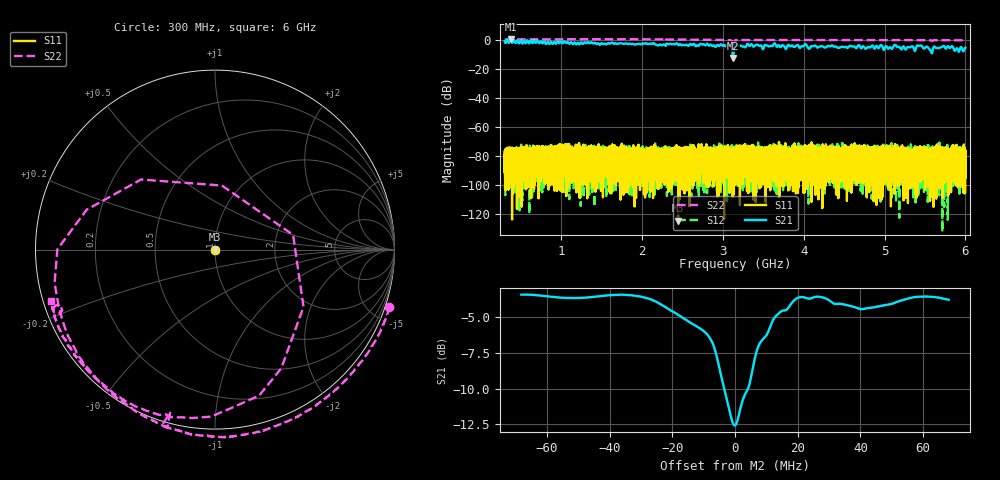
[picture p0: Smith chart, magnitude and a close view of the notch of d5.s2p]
!Agilent Technologies,N5230C,SG49000117,A.08.50.07
!Agilent N5230C: A.08.50.07
!Date: Sunday, March 17, 2024 09:30:41
!Correction: S11(Off)
!S21(Off)
!S12(Off)
!S22(Full 1 Port(2))
!S2P File: Measurements: S11, S21, S12, S22:
# Hz S  RI  R 50
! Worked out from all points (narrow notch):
!   20001 points, 300 MHz to 6 GHz, reference 50 ohm
!   highest |S21| = 0.44 dB at 373 MHz (marker M1); lowest = -12.6 dB at 3.123 GHz (marker M2)
!   notch at M2: 8.7 dB deep, 11.4 MHz wide at half that depth
!   lowest |S11| = -124.8 dB at 2.447 GHz (marker M3), VSWR 1.00, Z = 50 - j5.36e-06 ohm
!   |S11| at or under -10 dB: start of sweep to end of sweep
!   |S22| runs from -9.6 to 0.4 dB; largest |S21 - S12| = 1.1
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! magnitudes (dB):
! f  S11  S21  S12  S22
! 300 MHz  -83.9  -1.0  -82.4  0.2
! 373 MHz  -79.0  0.4  -89.1  0.2
! 1.25 GHz  -84.2  -1.8  -87.9  0.3
! 2.2 GHz  -83.5  -4.0  -93.4  0.2
! 2.447 GHz  -124.8  -3.5  -89.5  0.1
! 3.072 GHz  -73.9  -3.7  -84.6  -0.3
! 3.123 GHz  -108.5  -12.6  -86.0  -4.9
! 3.15 GHz  -79.9  -3.6  -84.0  -0.5
! 3.194 GHz  -81.7  -4.0  -76.7  -0.2
! 4.1 GHz  -75.6  -4.3  -80.6  -0.2
! 5.05 GHz  -77.6  -6.1  -81.8  -0.2
! 5.135 GHz  -83.4  -3.6  -80.4  -0.2
! 5.193 GHz  -76.9  -5.6  -82.1  -0.3
! 5.368 GHz  -80.6  -7.2  -83.9  -0.3
! 5.431 GHz  -84.9  -4.2  -85.4  -0.3
! 5.532 GHz  -87.0  -5.0  -87.3  -0.3
! 5.573 GHz  -82.1  -8.2  -77.4  -0.4
! 5.626 GHz  -86.2  -5.2  -87.0  -0.3
! 5.718 GHz  -79.0  -4.7  -82.8  -0.3
! 5.826 GHz  -77.7  -4.6  -82.6  -0.4
! 5.895 GHz  -83.6  -5.9  -84.7  -0.4
! 6 GHz  -93.5  -5.6  -80.1  -0.4
